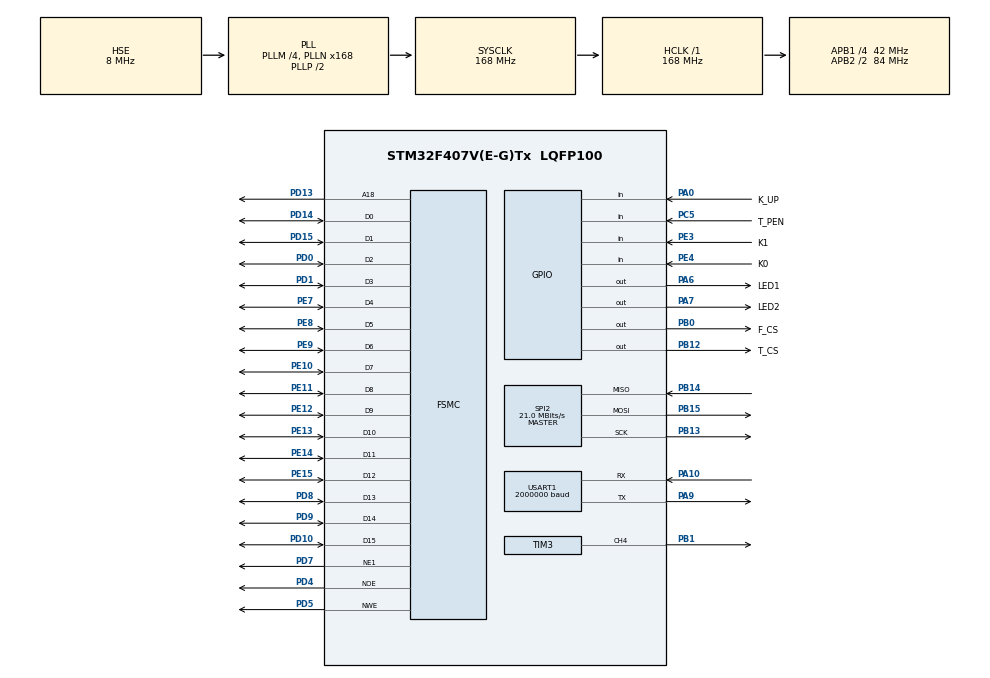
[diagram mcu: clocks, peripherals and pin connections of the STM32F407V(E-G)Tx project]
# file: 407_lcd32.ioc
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FSMC.AddressSetupTime1=15
FSMC.BusTurnAroundDuration1=15
FSMC.DataSetupTime1=255
FSMC.ExtendedMode1=FSMC_EXTENDED_MODE_ENABLE
Mcu.Family=STM32F4
Mcu.Name=STM32F407V(E-G)Tx
Mcu.Package=LQFP100
NVIC.PriorityGroup=NVIC_PRIORITYGROUP_4
PA0-WKUP.GPIO_Label=K_UP
PA0-WKUP.GPIO_PuPd=GPIO_PULLDOWN
PA0-WKUP.Signal=GPIO_Input
PA10.Mode=Asynchronous
PA10.Signal=USART1_RX
PA13.Mode=Trace_Asynchronous_SW
PA13.Signal=SYS_JTMS-SWDIO
PA14.Mode=Trace_Asynchronous_SW
PA14.Signal=SYS_JTCK-SWCLK
PA6.GPIO_Label=LED1
PA6.PinState=GPIO_PIN_SET
PA6.Signal=GPIO_Output
PA7.GPIO_Label=LED2
PA7.PinState=GPIO_PIN_SET
PA7.Signal=GPIO_Output
PA9.Mode=Asynchronous
PA9.Signal=USART1_TX
PB0.GPIO_Label=F_CS
PB0.Signal=GPIO_Output
PB1.Signal=S_TIM3_CH4
PB12.GPIO_Label=T_CS
PB12.Signal=GPIO_Output
PB13.Mode=Full_Duplex_Master
PB13.Signal=SPI2_SCK
PB14.Mode=Full_Duplex_Master
PB14.Signal=SPI2_MISO
PB15.Mode=Full_Duplex_Master
PB15.Signal=SPI2_MOSI
PB3.Mode=Trace_Asynchronous_SW
PB3.Signal=SYS_JTDO-SWO
PC5.GPIO_Label=T_PEN
PC5.Signal=GPIO_Input
PD0.Mode=16b-d1
PD0.Signal=FSMC_D2
PD1.Mode=16b-d1
PD1.Signal=FSMC_D3
PD10.Mode=16b-d1
PD10.Signal=FSMC_D15
PD13.Mode=A18_1
PD13.Signal=FSMC_A18
PD14.Mode=16b-d1
PD14.Signal=FSMC_D0
PD15.Mode=16b-d1
PD15.Signal=FSMC_D1
PD4.Mode=Lcd1
PD4.Signal=FSMC_NOE
PD5.Mode=Lcd1
PD5.Signal=FSMC_NWE
PD7.Mode=NorPsramChipSelect1_1
PD7.Signal=FSMC_NE1
PD8.Mode=16b-d1
PD8.Signal=FSMC_D13
PD9.Mode=16b-d1
PD9.Signal=FSMC_D14
PE10.Mode=16b-d1
PE10.Signal=FSMC_D7
PE11.Mode=16b-d1
PE11.Signal=FSMC_D8
PE12.Mode=16b-d1
PE12.Signal=FSMC_D9
PE13.Mode=16b-d1
PE13.Signal=FSMC_D10
PE14.Mode=16b-d1
PE14.Signal=FSMC_D11
PE15.Mode=16b-d1
PE15.Signal=FSMC_D12
PE3.GPIO_Label=K1
PE3.GPIO_PuPd=GPIO_PULLUP
PE3.Signal=GPIO_Input
PE4.GPIO_Label=K0
PE4.GPIO_PuPd=GPIO_PULLUP
PE4.Signal=GPIO_Input
PE7.Mode=16b-d1
PE7.Signal=FSMC_D4
PE8.Mode=16b-d1
PE8.Signal=FSMC_D5
PE9.Mode=16b-d1
PE9.Signal=FSMC_D6
PH0-OSC_IN.Mode=HSE-External-Oscillator
PH0-OSC_IN.Signal=RCC_OSC_IN
PH1-OSC_OUT.Mode=HSE-External-Oscillator
PH1-OSC_OUT.Signal=RCC_OSC_OUT
ProjectManager.HeapSize=0x200
ProjectManager.StackSize=0x400
ProjectManager.TargetToolchain=STM32CubeIDE
RCC.48MHZClocksFreq_Value=48000000
RCC.AHBFreq_Value=168000000
RCC.APB1CLKDivider=RCC_HCLK_DIV4
RCC.APB1Freq_Value=42000000
RCC.APB1TimFreq_Value=84000000
RCC.APB2CLKDivider=RCC_HCLK_DIV2
RCC.APB2Freq_Value=84000000
RCC.APB2TimFreq_Value=168000000
RCC.CortexFreq_Value=168000000
RCC.HCLKFreq_Value=168000000
RCC.HSE_VALUE=8000000
RCC.HSI_VALUE=16000000
RCC.PLLM=4
RCC.PLLN=168
RCC.PLLQ=7
RCC.PLLSourceVirtual=RCC_PLLSOURCE_HSE
RCC.SYSCLKFreq_VALUE=168000000
RCC.SYSCLKSource=RCC_SYSCLKSOURCE_PLLCLK
RCC.VCOOutputFreq_Value=336000000
SH.S_TIM3_CH4.0=TIM3_CH4,PWM Generation4 CH4
SPI2.CalculateBaudRate=21.0 MBits/s
SPI2.Direction=SPI_DIRECTION_2LINES
SPI2.Mode=SPI_MODE_MASTER
SPI2.VirtualType=VM_MASTER
TIM3.AutoReloadPreload=TIM_AUTORELOAD_PRELOAD_ENABLE
TIM3.Channel-PWM\ Generation4\ CH4=TIM_CHANNEL_4
TIM3.Period=59999
TIM3.Prescaler=6
TIM3.Pulse-PWM\ Generation4\ CH4=5000
USART1.BaudRate=2000000
USART1.Parity=PARITY_EVEN
USART1.VirtualMode=VM_ASYNC
USART1.WordLength=WORDLENGTH_9B
board=custom

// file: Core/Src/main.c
/* USER CODE BEGIN Header */
/**
  ******************************************************************************
  * @file           : main.c
  * @brief          : Main program body
  ******************************************************************************
  * @attention
  *
  * Copyright (c) 2026 STMicroelectronics.
  * All rights reserved.
  *
  * This software is licensed under terms that can be found in the LICENSE file
  * in the root directory of this software component.
  * If no LICENSE file comes with this software, it is provided AS-IS.
  *
  ******************************************************************************
  */
/* USER CODE END Header */
#include "main.h"
#include "spi.h"
#include "tim.h"
#include "usart.h"
#include "gpio.h"
#include "fsmc.h"

/* USER CODE BEGIN Includes */
#include <stdio.h>
#include "ili9341.h"
/* USER CODE END Includes */

void SystemClock_Config(void);

/* USER CODE BEGIN 0 */
int _write(int file, char *ptr, int len){
	HAL_UART_Transmit(&huart1, ptr, len, 100);
	return len;
}

/* USER CODE END 0 */

int main(void)
{

  /* MCU Configuration--------------------------------------------------------*/

  /* Reset of all peripherals, Initializes the Flash interface and the Systick. */
  HAL_Init();

  /* Configure the system clock */
  SystemClock_Config();

  /* Initialize all configured peripherals */
  MX_GPIO_Init();
  MX_FSMC_Init();
  MX_SPI2_Init();
  MX_TIM3_Init();
  MX_USART1_UART_Init();
  /* USER CODE BEGIN 2 */
  setvbuf(stdout, NULL, _IONBF, 0);   // no buffering

  /* USER CODE END 2 */

  /* Infinite loop */
  /* USER CODE BEGIN WHILE */
  printf("Start\n");

  HAL_TIM_PWM_Start(&htim3, TIM_CHANNEL_4);
  __HAL_TIM_SET_COMPARE(&htim3, TIM_CHANNEL_4, 2000);
  HAL_GPIO_TogglePin(LED2_GPIO_Port, LED2_Pin);
  LCD_ILI9341_init();
  uint32_t id = LCD_ILI9341_readID();
  printf("lcd id= %08x\n",id);
  LCD_ClrScr(LCD_COLOR_RED);
  while (1)
  {
	  HAL_GPIO_TogglePin(LED1_GPIO_Port, LED1_Pin);
	  HAL_GPIO_TogglePin(LED2_GPIO_Port, LED2_Pin);
	  HAL_Delay(100);
	  printf(".");
    /* USER CODE END WHILE */

  }
}

void SystemClock_Config(void)
{
  RCC_OscInitTypeDef RCC_OscInitStruct = {0};
  RCC_ClkInitTypeDef RCC_ClkInitStruct = {0};

  /** Configure the main internal regulator output voltage
  */
  __HAL_RCC_PWR_CLK_ENABLE();
  __HAL_PWR_VOLTAGESCALING_CONFIG(PWR_REGULATOR_VOLTAGE_SCALE1);

  /** Initializes the RCC Oscillators according to the specified parameters
  * in the RCC_OscInitTypeDef structure.
  */
  RCC_OscInitStruct.OscillatorType = RCC_OSCILLATORTYPE_HSE;
  RCC_OscInitStruct.HSEState = RCC_HSE_ON;
  RCC_OscInitStruct.PLL.PLLState = RCC_PLL_ON;
  RCC_OscInitStruct.PLL.PLLSource = RCC_PLLSOURCE_HSE;
  RCC_OscInitStruct.PLL.PLLM = 4;
  RCC_OscInitStruct.PLL.PLLN = 168;
  RCC_OscInitStruct.PLL.PLLP = RCC_PLLP_DIV2;
  RCC_OscInitStruct.PLL.PLLQ = 7;
  if (HAL_RCC_OscConfig(&RCC_OscInitStruct) != HAL_OK)
  {
    Error_Handler();
  }

  /** Initializes the CPU, AHB and APB buses clocks
  */
  RCC_ClkInitStruct.ClockType = RCC_CLOCKTYPE_HCLK|RCC_CLOCKTYPE_SYSCLK
                              |RCC_CLOCKTYPE_PCLK1|RCC_CLOCKTYPE_PCLK2;
  RCC_ClkInitStruct.SYSCLKSource = RCC_SYSCLKSOURCE_PLLCLK;
  RCC_ClkInitStruct.AHBCLKDivider = RCC_SYSCLK_DIV1;
  RCC_ClkInitStruct.APB1CLKDivider = RCC_HCLK_DIV4;
  RCC_ClkInitStruct.APB2CLKDivider = RCC_HCLK_DIV2;

  if (HAL_RCC_ClockConfig(&RCC_ClkInitStruct, FLASH_LATENCY_5) != HAL_OK)
  {
    Error_Handler();
  }
}

void Error_Handler(void)
{
  __disable_irq();
  while (1)
  {
  }
}
